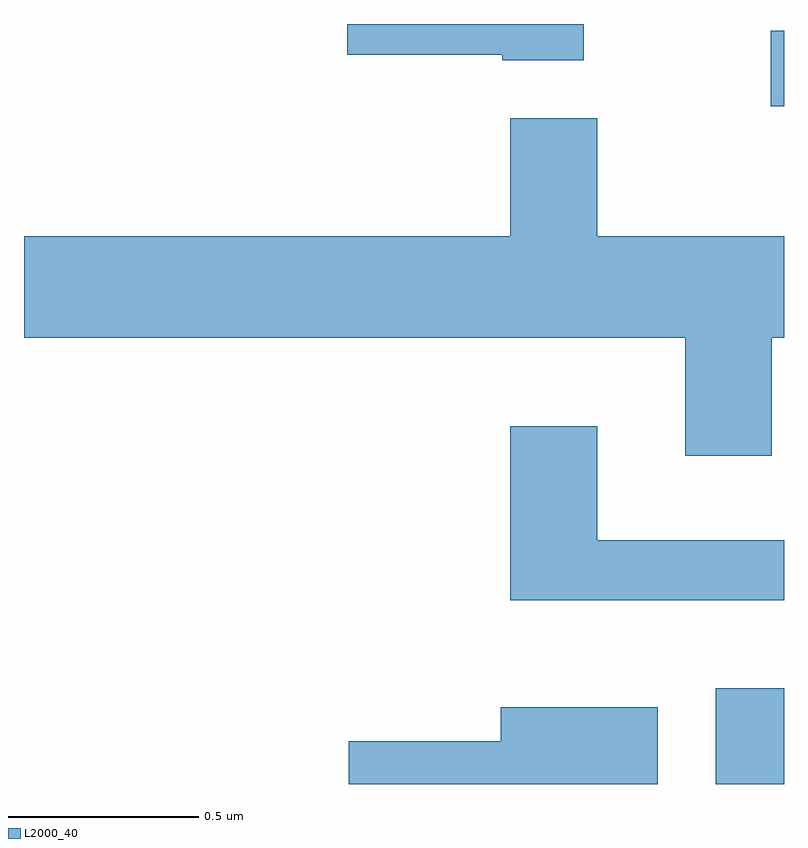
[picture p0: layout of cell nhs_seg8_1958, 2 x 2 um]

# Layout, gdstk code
import gdstk
lib = gdstk.Library(unit=1e-6, precision=1e-09)
def R(c, l, rs):  # rectangles x0, y0, x1, y1
    for r in rs: c.add(gdstk.rectangle(r[:2], r[2:], *l))
def P(c, l, *ps):  # polygons
    for p in ps: c.add(gdstk.Polygon(p, *l))
L2000_40 = (2000, 40)

nhs_seg8_1958 = lib.new_cell('nhs_seg8_1958')
R(nhs_seg8_1958, L2000_40, [(201.431,1846.342,201.611,1846.594), (201.576,1848.126,201.611,1848.324)])
P(nhs_seg8_1958, L2000_40, [(201.084,1848.342),(200.461,1848.342),(200.461,1848.261),(200.87,1848.261),(200.87,1848.246),(201.084,1848.246)],
  [(201.579,1847.516),(201.611,1847.516),(201.611,1847.784),(201.119,1847.784),(201.119,1848.094),(200.891,1848.094),(200.891,1847.784),(199.611,1847.784),(199.611,1847.516),(201.351,1847.516),(201.351,1847.206),(201.579,1847.206)],
  [(201.611,1846.984),(201.119,1846.984),(201.119,1847.284),(200.891,1847.284),(200.891,1846.826),(201.611,1846.826)],
  [(201.279,1846.544),(200.866,1846.544),(200.866,1846.454),(200.466,1846.454),(200.466,1846.342),(201.279,1846.342)])

lib.write_gds('nhs_seg8_1958.gds')
